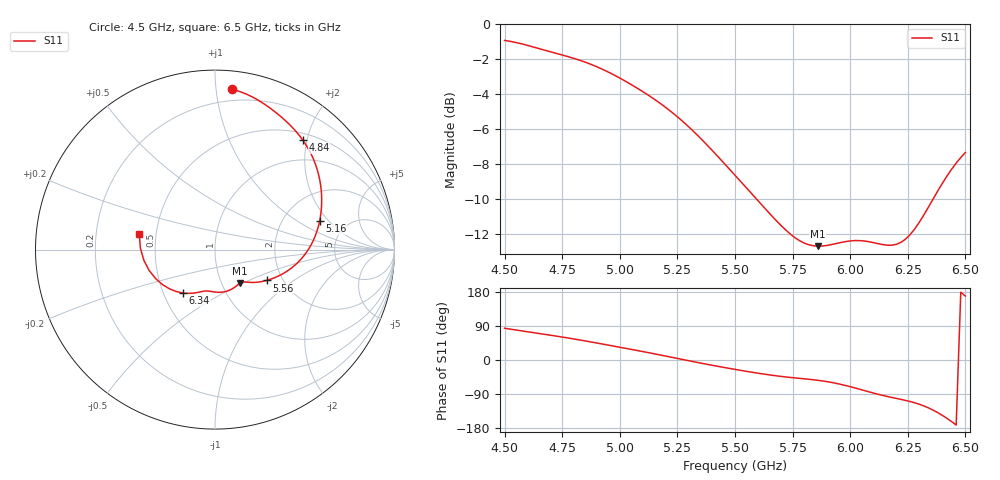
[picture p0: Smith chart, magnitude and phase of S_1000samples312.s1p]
! TOUCHSTONE file generated by CST MICROWAVE STUDIO
! Date and time: Thu Oct 27 17:45:25 2022
! Project name: L.cst
! Parameters = {Di=1.27; Epsilon_r=1.56; InnerDiameter=1.27; Length=2; Lf=10; Lg=60; OuterConductorThickness=0.2921; OuterDiameter=3.6; Wf=3; Wp=41.2; de=1.5; df=6.8; g=0.8; gx=1.60817; gy=3.4233; h=2.34; hf=1.524; px=11.9653; py=9.59048; w=9.7; wx=10.3571; wy=6.16718}
! Header version: 2018
! Port assignment regex: !\s*Touchstone port\s*([0-9]+)\s*=\s*(CST MWS port|CST DS port)\s*([0-9]+|Zmin|Zmax)\s*\(\"(.*)\"\)(\s*mode\s*([0-9]+))?.*
! Touchstone port assignment:
! Touchstone port 1 = CST MWS port 1 ("")
# GHz S DB R 50
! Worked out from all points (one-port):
!   101 points, 4.5 GHz to 6.5 GHz, reference 50 ohm
!   lowest |S11| = -12.7 dB at 5.86 GHz (marker M1), VSWR 1.61, Z = 60.8 - j24 ohm
!   |S11| at or under -10 dB: 5.594 GHz to 6.359 GHz (765.1 MHz wide, 12.8 % of centre)
!   S11 on the Smith chart (normalised r, x): 4.5 GHz: 0.12, +1.11; 4.84 GHz: 0.61, +1.92; 5.16 GHz: 3.20, +1.58; 5.56 GHz: 1.65, -0.64; 6.34 GHz: 0.63, -0.33; 6.5 GHz: 0.40, +0.08
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4.5  -0.94 83.8
4.6  -1.22 74.5
4.76  -1.80 59.6
4.84  -2.13 51.4
4.92  -2.55 42.6
5  -3.08 33.7
5.08  -3.70 24.5
5.16  -4.39 15.1
5.26  -5.41 2.9
5.38  -6.92 -11.5
5.5  -8.63 -24.8
5.56  -9.50 -30.9
5.66  -10.95 -40.2
5.76  -12.19 -47.3
5.86  -12.68 -53.6
5.94  -12.53 -61.7
6  -12.38 -70.4
6.08  -12.42 -83.8
6.18  -12.62 -98.8
6.22  -12.46 -103.9
6.26  -12.02 -109.6
6.3  -11.31 -116.8
6.34  -10.44 -126.5
6.38  -9.53 -138.9
6.42  -8.68 -154.0
6.46  -7.94 -171.5
6.48  -7.62 178.8
6.5  -7.33 168.7
